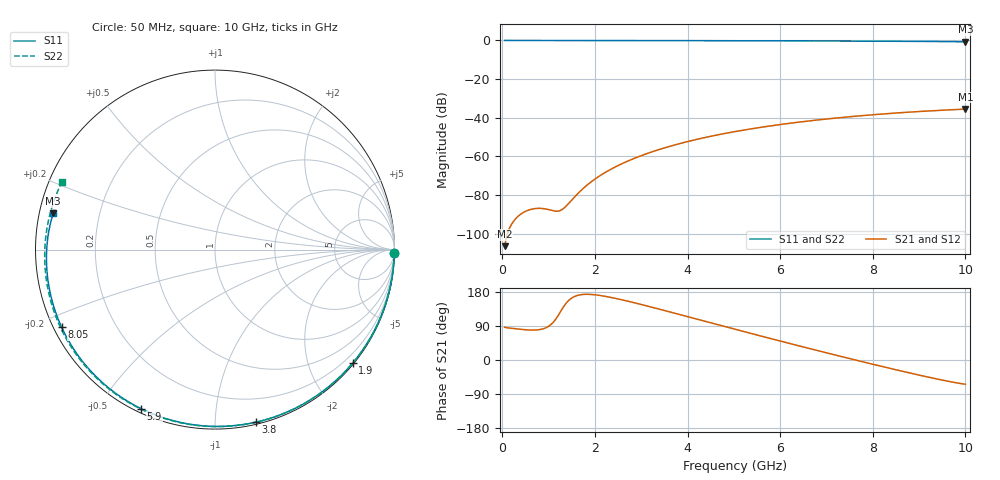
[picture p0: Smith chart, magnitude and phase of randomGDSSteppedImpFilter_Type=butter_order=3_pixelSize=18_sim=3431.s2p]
! freq	dB(S11)	phase(S11)	dB(S12)	phase(S12)
!  dB(S21)	phase(S21)	dB(S22)	phase(S22)
!S-par simulation data
#  GHz  S  DB  R 50
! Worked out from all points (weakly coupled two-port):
!   200 points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, 50 MHz to 10 GHz, reference 50 ohm
!   highest |S21| = -35.56 dB at 10 GHz (marker M1); lowest = -106.6 dB at 50 MHz (marker M2)
!   lowest |S11| = -0.7 dB at 10 GHz (marker M3), VSWR 25.11, Z = 2.02 + j5.54 ohm
!   |S11| at or under -10 dB: nowhere
!   |S22| runs from -0.6 to 0.0 dB; largest |S21 - S12| = 0
!   S11 on the Smith chart (normalised r, x): 50 MHz: open; 1.9 GHz: 0.03, -2.78; 3.8 GHz: 0.02, -1.26; 5.9 GHz: 0.02, -0.64; 8.05 GHz: 0.02, -0.24; 10 GHz: 0.04, +0.11
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0.05  -0.01 -1.1  -106.56 86.5  -106.56 86.5  -0.01 -1.2
0.45  -0.01 -9.5  -89.18 80.3  -89.18 80.3  -0.02 -10.8
0.8  -0.02 -16.9  -86.96 80.1  -86.96 80.1  -0.02 -19.2
1.2  -0.03 -25.2  -88.43 116.1  -88.43 116.1  -0.04 -28.7
1.6  -0.04 -33.4  -80.06 169.6  -80.06 169.6  -0.05 -38.0
1.75  -0.05 -36.5  -76.58 173.1  -76.58 173.1  -0.05 -41.4
1.9  -0.05 -39.5  -73.59 173.1  -73.59 173.1  -0.06 -44.9
2.2  -0.06 -45.6  -68.71 168.5  -68.71 168.5  -0.07 -51.6
2.55  -0.07 -52.6  -64.23 159.8  -64.23 159.8  -0.08 -59.4
2.95  -0.08 -60.4  -60.14 148.0  -60.14 148.0  -0.09 -68.1
3.4  -0.09 -69.1  -56.40 133.9  -56.40 133.9  -0.10 -77.7
3.8  -0.10 -76.7  -53.63 121.0  -53.63 121.0  -0.11 -85.9
4.4  -0.13 -87.9  -50.16 101.5  -50.16 101.5  -0.14 -98.0
5.05  -0.15 -99.7  -47.11 80.4  -47.11 80.4  -0.17 -110.7
5.9  -0.20 -114.9  -43.90 53.2  -43.90 53.2  -0.21 -126.7
6.7  -0.25 -129.0  -41.48 28.2  -41.48 28.2  -0.27 -141.4
7.4  -0.31 -141.4  -39.75 6.7  -39.75 6.7  -0.32 -154.2
8.05  -0.37 -153.1  -38.40 -12.7  -38.40 -12.7  -0.38 -166.1
8.35  -0.41 -158.7  -37.85 -21.4  -37.85 -21.4  -0.41 -171.7
9.25  -0.53 -176.1  -36.47 -46.6  -36.47 -46.6  -0.51 171.1
9.65  -0.60 175.4  -35.96 -56.7  -35.96 -56.7  -0.56 163.2
10  -0.69 167.3  -35.56 -64.0  -35.56 -64.0  -0.61 156.1
